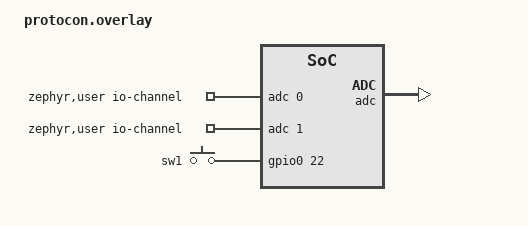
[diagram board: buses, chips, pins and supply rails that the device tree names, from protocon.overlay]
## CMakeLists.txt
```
cmake_minimum_required(VERSION 3.20.0)
set(BOARD rpi_pico)
set(DTC_OVERLAY_FILE protocon.overlay)

find_package(Zephyr)
project(protocon)

include_directories(src)
target_sources(app PRIVATE src/main.c)

set_property(GLOBAL APPEND PROPERTY HEX_FILES_TO_MERGE
	${app_bootloader_hex}
	${PROJECT_BINARY_DIR}/${KERNEL_HEX_NAME}
	${app_provision_hex})
```

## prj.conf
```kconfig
CONFIG_GPIO=y
CONFIG_ADC=y
CONFIG_PWM=y

CONFIG_LOG=y
CONFIG_SERIAL=y
CONFIG_CONSOLE=y
CONFIG_HEAP_MEM_POOL_SIZE=256
```

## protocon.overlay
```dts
/{
	zephyr,user {
		io-channels = <&adc 0>, <&adc 1>;
	};

	inputs {
		compatible="gpio-keys";
		status="okay";
		
		sw1: sw1 {
			gpios = <&gpio0 22 (GPIO_ACTIVE_HIGH)>;
		};
	};
};

&adc {
	status="okay";
};
```

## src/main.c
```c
#include <stdint.h>
#include <zephyr/devicetree.h>
#include <zephyr/kernel.h>
#include <zephyr/drivers/gpio.h>
#include <zephyr/drivers/pwm.h>
#include <zephyr/drivers/adc.h>
#include <zephyr/logging/log.h>

#define SUCCESS 1
#define FAILURE 0
#define MS_REPORT 50

LOG_MODULE_REGISTER(main);

static const struct adc_dt_spec y_adc = ADC_DT_SPEC_GET_BY_IDX(DT_PATH(zephyr_user), 0);
static const struct adc_dt_spec x_adc = ADC_DT_SPEC_GET_BY_IDX(DT_PATH(zephyr_user), 1);

static const struct gpio_dt_spec sw = GPIO_DT_SPEC_GET(DT_NODELABEL(sw1), gpios);
static const struct gpio_dt_spec led = GPIO_DT_SPEC_GET(DT_NODELABEL(led0), gpios);

uint8_t config_io() {
	if (!adc_is_ready_dt(&y_adc) || !adc_is_ready_dt(&x_adc)) {
		LOG_ERR("ADC controller device not ready!");
		return FAILURE;
	}
	if (!adc_channel_setup_dt(&y_adc) || !adc_channel_setup_dt(&x_adc)) {
		LOG_ERR("ADC channel setup failed!");
		return FAILURE;
	}
	gpio_pin_configure_dt(&sw, GPIO_INPUT);
	gpio_pin_configure_dt(&led, GPIO_OUTPUT);
	return SUCCESS;
}

void set_led_intensity(uint8_t i) {
	gpio_pin_set_dt(&led, i);
}

static uint16_t adc_buf;
static struct adc_sequence adc_seq = {
	.buffer = &adc_buf,
	.buffer_size = sizeof(adc_buf),
};

int32_t read_adc(const struct adc_dt_spec * adc) {
	adc_sequence_init_dt(adc, &adc_seq);
	if (adc_read((*adc).dev, &adc_seq) < 0) {
		LOG_ERR("Could not read adc");
		return FAILURE;
	}
	return (*adc).channel_cfg.differential ? ((int32_t)((int16_t)adc_buf)) : ((int32_t) adc_buf);
}

void main() {

	uint8_t res = config_io();
	
	uint32_t last_report = 0;
	int32_t x = 0, y = 0;
	uint8_t intensity = 1;
	set_led_intensity(intensity);
	LOG_INF("SUCCESS!");
	while (1) {
	 	if (res == SUCCESS) {
			x += read_adc(&x_adc);
			y += read_adc(&y_adc);
		}

		if (last_report + MS_REPORT < k_uptime_get()) {
			LOG_INF("x: %i, y: %i, btn: %i", x, y, gpio_pin_get_dt(&sw));
			x = 0;
			y = 0;
			intensity = !intensity;
			set_led_intensity(intensity);
			last_report = k_uptime_get();
		}
	}
}
```
